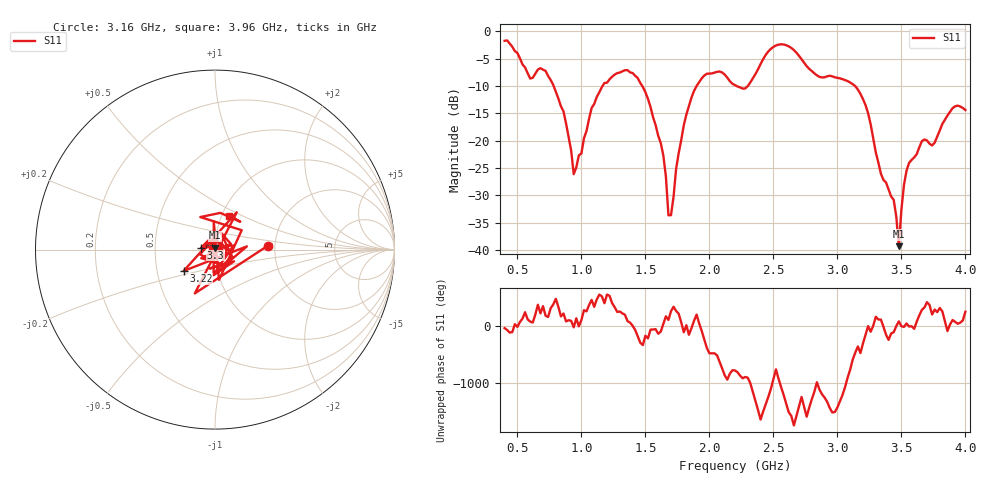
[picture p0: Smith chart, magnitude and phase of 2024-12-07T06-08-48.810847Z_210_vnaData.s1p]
!Created with skrf (http://scikit-rf.org).
# Hz S RI R 50.0
!freq ReS11 ImS11
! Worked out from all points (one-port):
!   181 points, 400 MHz to 4 GHz, reference 50 ohm
!   lowest |S11| = -39.3 dB at 3.48 GHz (marker M1), VSWR 1.02, Z = 50 + j1.09 ohm
!   |S11| at or under -10 dB: 783.6 MHz to 1.165 GHz (380.9 MHz wide, 39.1 % of centre); 1.476 GHz to 1.899 GHz (423.5 MHz wide, 25.1 % of centre); 3.14 GHz to end of sweep (the widest 3 of 4)
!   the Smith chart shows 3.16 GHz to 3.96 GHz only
!   S11 on the Smith chart (normalised r, x): 3.16 GHz: 1.83, +0.08; 3.22 GHz: 0.68, -0.17; 3.3 GHz: 0.86, +0.02; 3.96 GHz: 1.09, +0.43
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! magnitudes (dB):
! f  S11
! 400 MHz  -1.7
! 600 MHz  -8.6
! 720 MHz  -7.2
! 860 MHz  -14.6
! 940 MHz  -26.1
! 1.08 GHz  -14.0
! 1.3 GHz  -7.5
! 1.52 GHz  -12.3
! 1.64 GHz  -22.7
! 1.68 GHz  -33.6
! 1.7 GHz  -33.6
! 1.76 GHz  -22.3
! 1.86 GHz  -12.1
! 1.94 GHz  -8.6
! 2.2 GHz  -9.8
! 2.3 GHz  -10.0
! 2.5 GHz  -2.8
! 2.66 GHz  -3.4
! 3.1 GHz  -9.3
! 3.16 GHz  -10.6
! 3.22 GHz  -13.5
! 3.3 GHz  -22.1
! 3.44 GHz  -30.8
! 3.48 GHz  -39.3
! 3.52 GHz  -28.1
! 3.56 GHz  -24.0
! 3.96 GHz  -13.7
! 4 GHz  -14.4
